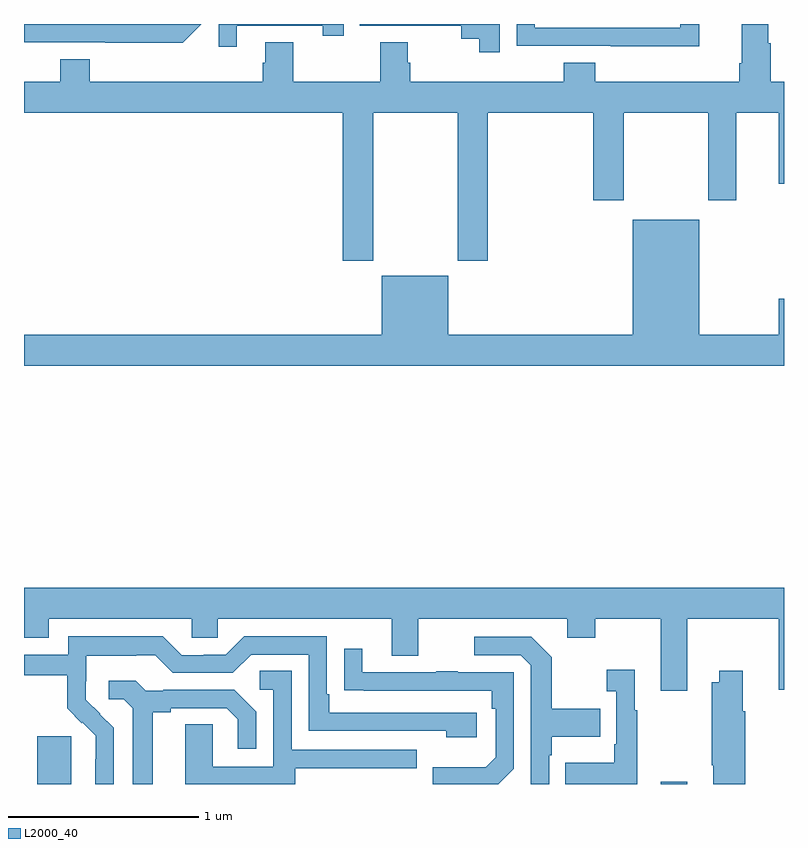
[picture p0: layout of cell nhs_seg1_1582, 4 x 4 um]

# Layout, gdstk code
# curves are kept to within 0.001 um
import gdstk
lib = gdstk.Library(unit=1e-6, precision=1e-09)
def R(c, l, rs):  # rectangles x0, y0, x1, y1
    for r in rs: c.add(gdstk.rectangle(r[:2], r[2:], *l))
def P(c, l, *ps):  # polygons
    for p in ps: c.add(gdstk.Polygon(p, *l))
L2000_40 = (2000, 40)

nhs_seg1_1582 = lib.new_cell('nhs_seg1_1582')
R(nhs_seg1_1582, L2000_40, [(197.069,548.199,197.248,548.451), (200.351,548.199,200.491,548.212)])
P(nhs_seg1_1582, L2000_40, [(199.503,552.199),(198.768,552.199),(198.768,552.189),(199.302,552.189),(199.302,552.121),(199.395,552.121),(199.395,552.051),(199.503,552.051)],
  [(200.553,552.199),(200.454,552.199),(200.454,552.18),(199.689,552.18),(199.689,552.199),(199.593,552.199),(199.593,552.084),(200.089,552.084),(200.089,552.083),(200.553,552.083)],
  [(198.121,552.189),(198.572,552.189),(198.572,552.138),(198.683,552.138),(198.683,552.199),(198.024,552.199),(198.024,552.078),(198.121,552.078)],
  [(197.934,552.198),(197.934,552.199),(197.767,552.199),(197.766,552.198),(197,552.198),(197,552.102),(197.428,552.102),(197.428,552.101),(197.836,552.101)],
  [(198.837,551.732),(199.282,551.732),(199.282,550.953),(199.442,550.953),(199.442,551.732),(199.997,551.732),(199.997,551.271),(200.157,551.271),(200.157,551.732),(200.602,551.732),(200.602,551.271),(200.749,551.271),(200.749,551.732),(200.972,551.732),(200.972,551.358),(201,551.358),(201,551.896),(200.93,551.896),(200.93,552.098),(200.917,552.098),(200.917,552.199),(200.777,552.199),(200.777,551.992),(200.765,551.992),(200.765,551.896),(200.006,551.896),(200.006,551.995),(199.841,551.995),(199.841,551.896),(199.034,551.896),(199.034,551.994),(199.021,551.994),(199.021,552.104),(198.874,552.104),(198.874,551.896),(198.417,551.896),(198.417,552.104),(198.269,552.104),(198.269,551.994),(198.257,551.994),(198.257,551.896),(197.345,551.896),(197.345,552.013),(197.192,552.013),(197.192,551.896),(197,551.896),(197,551.732),(198.677,551.732),(198.677,550.953),(198.837,550.953)],
  [(201,550.753),(200.972,550.753),(200.972,550.564),(200.554,550.564),(200.554,551.17),(200.204,551.17),(200.204,550.564),(199.234,550.564),(199.234,550.873),(198.884,550.873),(198.884,550.564),(197,550.564),(197,550.4),(201,550.4)],
  [(197,548.969),(197.131,548.969),(197.131,549.068),(197.883,549.068),(197.883,548.97),(198.021,548.97),(198.021,549.068),(198.935,549.068),(198.935,548.874),(199.075,548.874),(199.075,549.068),(199.859,549.068),(199.859,548.969),(200.007,548.969),(200.007,549.068),(200.351,549.068),(200.351,548.691),(200.491,548.691),(200.491,549.068),(200.972,549.068),(200.972,548.694),(201,548.694),(201,549.232),(197,549.232)],
  [(197.472,548.494),(197.326,548.642),(197.326,548.739),(197.328,548.739),(197.328,548.873),(197.591,548.873),(197.591,548.877),(197.691,548.877),(197.784,548.784),(198.099,548.784),(198.195,548.88),(198.498,548.88),(198.498,548.478),(199.223,548.478),(199.223,548.444),(199.384,548.444),(199.384,548.574),(198.607,548.574),(198.607,548.671),(198.594,548.671),(198.594,548.976),(198.159,548.976),(198.063,548.88),(197.945,548.88),(197.945,548.877),(197.829,548.877),(197.729,548.977),(197.232,548.977),(197.232,548.88),(197,548.88),(197,548.772),(197.227,548.772),(197.227,548.597),(197.304,548.52),(197.307,548.523),(197.378,548.453),(197.378,548.33),(197.376,548.33),(197.376,548.199),(197.472,548.199)],
  [(199.764,548.351),(199.777,548.351),(199.777,548.447),(200.033,548.447),(200.033,548.595),(199.777,548.595),(199.777,548.867),(199.671,548.973),(199.371,548.973),(199.371,548.877),(199.614,548.877),(199.668,548.823),(199.668,548.199),(199.764,548.199)],
  [(199.578,548.28),(199.578,548.787),(199.283,548.787),(199.283,548.792),(199.171,548.792),(199.171,548.787),(198.781,548.787),(198.781,548.911),(198.685,548.911),(198.685,548.692),(199.462,548.691),(199.462,548.594),(199.482,548.594),(199.482,548.34),(199.429,548.287),(199.152,548.287),(199.152,548.199),(199.497,548.199)],
  [(200.227,548.587),(200.215,548.587),(200.215,548.8),(200.067,548.8),(200.067,548.687),(200.118,548.687),(200.118,548.407),(200.106,548.407),(200.106,548.311),(199.849,548.311),(199.849,548.199),(200.227,548.199)],
  [(198.427,548.283),(199.067,548.283),(199.067,548.379),(198.408,548.379),(198.408,548.795),(198.24,548.795),(198.24,548.694),(198.312,548.694),(198.312,548.289),(197.994,548.289),(197.994,548.513),(197.849,548.513),(197.849,548.199),(198.427,548.199)],
  [(200.795,548.581),(200.782,548.581),(200.782,548.794),(200.66,548.794),(200.66,548.734),(200.62,548.734),(200.62,548.299),(200.627,548.299),(200.627,548.199),(200.795,548.199)],
  [(197.677,548.576),(197.773,548.576),(197.773,548.598),(198.068,548.598),(198.125,548.541),(198.125,548.385),(198.222,548.385),(198.222,548.578),(198.106,548.694),(197.734,548.694),(197.734,548.691),(197.64,548.691),(197.588,548.743),(197.445,548.743),(197.445,548.646),(197.526,548.646),(197.573,548.599),(197.573,548.199),(197.677,548.199)])

lib.write_gds('nhs_seg1_1582.gds')
